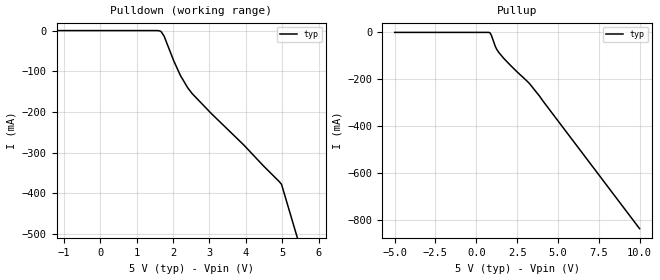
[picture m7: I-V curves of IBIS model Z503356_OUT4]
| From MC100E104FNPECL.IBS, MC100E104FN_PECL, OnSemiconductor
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| (C) COPYRIGHT 1993-2000
| MENTOR GRAPHICS CORPORATION
| ICX STANDARD LIBRARY, ICX PROJECT MODELING,
| ICX CUSTOM MODELING, ICX VENDOR MODEL
| ALL RIGHTS RESERVED.
| THE FOLLOWING ARE TRADEMARKS OR SERVICE MARKS OF
| MENTOR GRAPHICS CORPORATION:ICX (R), ICX STANDARD
| LIBRARY(R), ICX PROJECT MODELING(R), ICX CUSTOM
| MODELING(R), qualityIBIS(TM), MODELVIEWER(TM),
| AND MODELEDITOR(TM)
| ALL COPIES OF SOFTWARE, INCLUDING BUT NOT LIMITED TO
| ANY MODIFICATIONS, ENHANCEMENTS OR DERIVATIVE WORKS,
| MUST CONTAIN ALL MENTOR GRAPHICS CORPORATION'S
| NOTICES AND LEGENDS, INCLUDING THOSE EMBEDDED IN
| SOFTWARE AND THOSE AFFIXED TO SOFTWARE MEDIUM
| AND CONTAINER, AS RECEIVED FROM MENTOR GRAPHICS
| CORPORATION.
| Model Application Version 1.89 2/18/99.
[Model] Z503356_OUT4
Model_type Output_ECL
Vref=3.000V
Rref=50.00ohms
Cref=0.000F
Vmeas=3.677V
C_comp 8.000pF NA NA
| variable typ   min   max
[Voltage Range] 5.000V NA NA
[POWER Clamp Reference] 5.000V NA NA
[Pullup Reference] 5.000V NA NA
[Pulldown Reference] 5.000V NA NA
[GND Clamp Reference] 0.000V NA NA
[GND Clamp]
-5V       0A         NA         NA
10V       0A         NA         NA
[Pulldown]
-5V       0A         NA         NA
1.654V    -1.5mA     NA         NA
1.755V    -13.6mA    NA         NA
2.019V    -74.2mA    NA         NA
2.201V    -110mA     NA         NA
2.404V    -140.7mA   NA         NA
2.526V    -154.9mA   NA         NA
3.054V    -204.1mA   NA         NA
3.947V    -281.5mA   NA         NA
4.981V    -378mA     NA         NA
10V       -1.895A    NA         NA
[Pullup]
-5V       0A         NA         NA
842mV     -2.4mA     NA         NA
923mV     -12.5mA    NA         NA
1.167V    -60.5mA    NA         NA
1.37V     -85.1mA    NA         NA
2.1V      -141.3mA   NA         NA
3.257V    -218.6mA   NA         NA
3.886V    -273.4mA   NA         NA
10V       -838.4mA   NA         NA
[POWER Clamp]
-5V       0A         NA         NA
10V       0A         NA         NA
[Ramp]
| variable typ min max
dV/dt_r 487.2m/309.3p NA NA
dV/dt_f 487.2m/201.9p NA NA
R_load = 500.0Ohms
